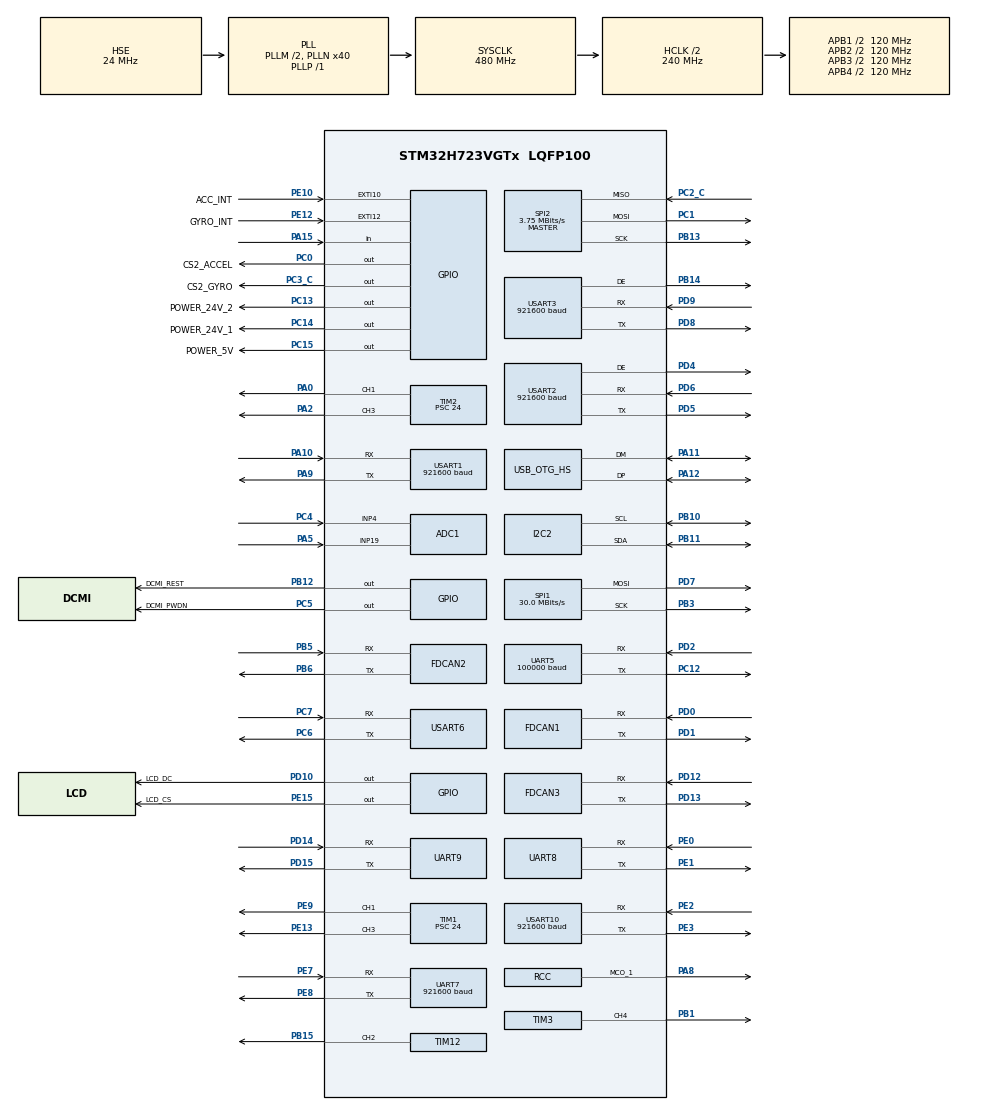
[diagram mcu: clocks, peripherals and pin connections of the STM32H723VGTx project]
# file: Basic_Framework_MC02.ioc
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ADC1.Channel-0\#ChannelRegularConversion=ADC_CHANNEL_4
ADC1.Channel-1\#ChannelRegularConversion=ADC_CHANNEL_19
ADC1.ClockPrescaler=ADC_CLOCK_ASYNC_DIV64
ADC1.ContinuousConvMode=ENABLE
ADC1.ConversionDataManagement=ADC_CONVERSIONDATA_DMA_CIRCULAR
ADC1.NbrOfConversion=2
ADC1.NbrOfConversionFlag=1
ADC1.OffsetNumber-0\#ChannelRegularConversion=ADC_OFFSET_NONE
ADC1.OffsetNumber-1\#ChannelRegularConversion=ADC_OFFSET_NONE
ADC1.OffsetSignedSaturation-0\#ChannelRegularConversion=DISABLE
ADC1.OffsetSignedSaturation-1\#ChannelRegularConversion=DISABLE
ADC1.Rank-0\#ChannelRegularConversion=1
ADC1.Rank-1\#ChannelRegularConversion=2
ADC1.SamplingTime-0\#ChannelRegularConversion=ADC_SAMPLETIME_32CYCLES_5
ADC1.SamplingTime-1\#ChannelRegularConversion=ADC_SAMPLETIME_32CYCLES_5
ADC1.master=1
CORTEX_M7.BaseAddress-Cortex_Memory_Protection_Unit_Region0_Settings=0x24000000
CORTEX_M7.CPU_DCache=Disabled
CORTEX_M7.CPU_ICache=Disabled
CORTEX_M7.Enable-Cortex_Memory_Protection_Unit_Region0_Settings=MPU_REGION_ENABLE
CORTEX_M7.IsBufferable-Cortex_Memory_Protection_Unit_Region0_Settings=MPU_ACCESS_BUFFERABLE
CORTEX_M7.IsCacheable-Cortex_Memory_Protection_Unit_Region0_Settings=MPU_ACCESS_CACHEABLE
CORTEX_M7.MPU_Control=__NULL
CORTEX_M7.Size-Cortex_Memory_Protection_Unit_Region0_Settings=MPU_REGION_SIZE_512B
CORTEX_M7.TypeExtField-Cortex_Memory_Protection_Unit_Region0_Settings=MPU_TEX_LEVEL1
Dma.ADC1.0.Direction=DMA_PERIPH_TO_MEMORY
Dma.ADC1.0.EventEnable=DISABLE
Dma.ADC1.0.FIFOMode=DMA_FIFOMODE_DISABLE
Dma.ADC1.0.Instance=DMA1_Stream0
Dma.ADC1.0.MemDataAlignment=DMA_MDATAALIGN_HALFWORD
Dma.ADC1.0.MemInc=DMA_MINC_ENABLE
Dma.ADC1.0.Mode=DMA_CIRCULAR
Dma.ADC1.0.PeriphDataAlignment=DMA_PDATAALIGN_HALFWORD
Dma.ADC1.0.PeriphInc=DMA_PINC_DISABLE
Dma.ADC1.0.Polarity=HAL_DMAMUX_REQ_GEN_RISING
Dma.ADC1.0.Priority=DMA_PRIORITY_LOW
Dma.ADC1.0.RequestNumber=1
Dma.ADC1.0.SignalID=NONE
Dma.ADC1.0.SyncEnable=DISABLE
Dma.ADC1.0.SyncPolarity=HAL_DMAMUX_SYNC_NO_EVENT
Dma.ADC1.0.SyncRequestNumber=1
Dma.ADC1.0.SyncSignalID=NONE
Dma.I2C2_RX.2.Direction=DMA_PERIPH_TO_MEMORY
Dma.I2C2_RX.2.EventEnable=DISABLE
Dma.I2C2_RX.2.FIFOMode=DMA_FIFOMODE_DISABLE
Dma.I2C2_RX.2.Instance=DMA1_Stream2
Dma.I2C2_RX.2.MemDataAlignment=DMA_MDATAALIGN_BYTE
Dma.I2C2_RX.2.MemInc=DMA_MINC_ENABLE
Dma.I2C2_RX.2.Mode=DMA_NORMAL
Dma.I2C2_RX.2.PeriphDataAlignment=DMA_PDATAALIGN_BYTE
Dma.I2C2_RX.2.PeriphInc=DMA_PINC_DISABLE
Dma.I2C2_RX.2.Polarity=HAL_DMAMUX_REQ_GEN_RISING
Dma.I2C2_RX.2.Priority=DMA_PRIORITY_LOW
Dma.I2C2_RX.2.RequestNumber=1
Dma.I2C2_RX.2.SignalID=NONE
Dma.I2C2_RX.2.SyncEnable=DISABLE
Dma.I2C2_RX.2.SyncPolarity=HAL_DMAMUX_SYNC_NO_EVENT
Dma.I2C2_RX.2.SyncRequestNumber=1
Dma.I2C2_RX.2.SyncSignalID=NONE
Dma.I2C2_TX.3.Direction=DMA_MEMORY_TO_PERIPH
Dma.I2C2_TX.3.EventEnable=DISABLE
Dma.I2C2_TX.3.FIFOMode=DMA_FIFOMODE_DISABLE
Dma.I2C2_TX.3.Instance=DMA1_Stream3
Dma.I2C2_TX.3.MemDataAlignment=DMA_MDATAALIGN_BYTE
Dma.I2C2_TX.3.MemInc=DMA_MINC_ENABLE
Dma.I2C2_TX.3.Mode=DMA_NORMAL
Dma.I2C2_TX.3.PeriphDataAlignment=DMA_PDATAALIGN_BYTE
Dma.I2C2_TX.3.PeriphInc=DMA_PINC_DISABLE
Dma.I2C2_TX.3.Polarity=HAL_DMAMUX_REQ_GEN_RISING
Dma.I2C2_TX.3.Priority=DMA_PRIORITY_LOW
Dma.I2C2_TX.3.RequestNumber=1
Dma.I2C2_TX.3.SignalID=NONE
Dma.I2C2_TX.3.SyncEnable=DISABLE
Dma.I2C2_TX.3.SyncPolarity=HAL_DMAMUX_SYNC_NO_EVENT
Dma.I2C2_TX.3.SyncRequestNumber=1
Dma.I2C2_TX.3.SyncSignalID=NONE
Dma.Request0=ADC1
Dma.Request1=UART5_RX
Dma.Request10=USART1_TX
Dma.Request11=USART1_RX
Dma.Request12=USART10_RX
Dma.Request13=USART10_TX
Dma.Request14=UART7_RX
Dma.Request15=UART7_TX
Dma.Request2=I2C2_RX
Dma.Request3=I2C2_TX
Dma.Request4=UART9_RX
Dma.Request5=UART9_TX
Dma.Request6=USART3_RX
Dma.Request7=USART3_TX
Dma.Request8=USART2_RX
Dma.Request9=USART2_TX
Dma.UART5_RX.1.Direction=DMA_PERIPH_TO_MEMORY
Dma.UART5_RX.1.EventEnable=DISABLE
Dma.UART5_RX.1.FIFOMode=DMA_FIFOMODE_DISABLE
Dma.UART5_RX.1.Instance=DMA1_Stream7
Dma.UART5_RX.1.MemDataAlignment=DMA_MDATAALIGN_BYTE
Dma.UART5_RX.1.MemInc=DMA_MINC_ENABLE
Dma.UART5_RX.1.Mode=DMA_NORMAL
Dma.UART5_RX.1.PeriphDataAlignment=DMA_PDATAALIGN_BYTE
Dma.UART5_RX.1.PeriphInc=DMA_PINC_DISABLE
Dma.UART5_RX.1.Polarity=HAL_DMAMUX_REQ_GEN_RISING
Dma.UART5_RX.1.Priority=DMA_PRIORITY_VERY_HIGH
Dma.UART5_RX.1.RequestNumber=1
Dma.UART5_RX.1.SignalID=NONE
Dma.UART5_RX.1.SyncEnable=DISABLE
Dma.UART5_RX.1.SyncPolarity=HAL_DMAMUX_SYNC_NO_EVENT
Dma.UART5_RX.1.SyncRequestNumber=1
Dma.UART5_RX.1.SyncSignalID=NONE
Dma.UART7_RX.14.Direction=DMA_PERIPH_TO_MEMORY
Dma.UART7_RX.14.EventEnable=DISABLE
Dma.UART7_RX.14.FIFOMode=DMA_FIFOMODE_DISABLE
Dma.UART7_RX.14.Instance=DMA2_Stream6
Dma.UART7_RX.14.MemDataAlignment=DMA_MDATAALIGN_BYTE
Dma.UART7_RX.14.MemInc=DMA_MINC_ENABLE
Dma.UART7_RX.14.Mode=DMA_NORMAL
Dma.UART7_RX.14.PeriphDataAlignment=DMA_PDATAALIGN_BYTE
Dma.UART7_RX.14.PeriphInc=DMA_PINC_DISABLE
Dma.UART7_RX.14.Polarity=HAL_DMAMUX_REQ_GEN_RISING
Dma.UART7_RX.14.Priority=DMA_PRIORITY_LOW
Dma.UART7_RX.14.RequestNumber=1
Dma.UART7_RX.14.SignalID=NONE
Dma.UART7_RX.14.SyncEnable=DISABLE
Dma.UART7_RX.14.SyncPolarity=HAL_DMAMUX_SYNC_NO_EVENT
Dma.UART7_RX.14.SyncRequestNumber=1
Dma.UART7_RX.14.SyncSignalID=NONE
Dma.UART7_TX.15.Direction=DMA_MEMORY_TO_PERIPH
Dma.UART7_TX.15.EventEnable=DISABLE
Dma.UART7_TX.15.FIFOMode=DMA_FIFOMODE_DISABLE
Dma.UART7_TX.15.Instance=DMA2_Stream7
Dma.UART7_TX.15.MemDataAlignment=DMA_MDATAALIGN_BYTE
Dma.UART7_TX.15.MemInc=DMA_MINC_ENABLE
Dma.UART7_TX.15.Mode=DMA_NORMAL
Dma.UART7_TX.15.PeriphDataAlignment=DMA_PDATAALIGN_BYTE
Dma.UART7_TX.15.PeriphInc=DMA_PINC_DISABLE
Dma.UART7_TX.15.Polarity=HAL_DMAMUX_REQ_GEN_RISING
Dma.UART7_TX.15.Priority=DMA_PRIORITY_LOW
Dma.UART7_TX.15.RequestNumber=1
Dma.UART7_TX.15.SignalID=NONE
Dma.UART7_TX.15.SyncEnable=DISABLE
Dma.UART7_TX.15.SyncPolarity=HAL_DMAMUX_SYNC_NO_EVENT
Dma.UART7_TX.15.SyncRequestNumber=1
Dma.UART7_TX.15.SyncSignalID=NONE
Dma.UART9_RX.4.Direction=DMA_PERIPH_TO_MEMORY
Dma.UART9_RX.4.EventEnable=DISABLE
Dma.UART9_RX.4.FIFOMode=DMA_FIFOMODE_DISABLE
Dma.UART9_RX.4.Instance=DMA1_Stream4
Dma.UART9_RX.4.MemDataAlignment=DMA_MDATAALIGN_BYTE
Dma.UART9_RX.4.MemInc=DMA_MINC_ENABLE
Dma.UART9_RX.4.Mode=DMA_NORMAL
Dma.UART9_RX.4.PeriphDataAlignment=DMA_PDATAALIGN_BYTE
Dma.UART9_RX.4.PeriphInc=DMA_PINC_DISABLE
Dma.UART9_RX.4.Polarity=HAL_DMAMUX_REQ_GEN_RISING
Dma.UART9_RX.4.Priority=DMA_PRIORITY_HIGH
Dma.UART9_RX.4.RequestNumber=1
Dma.UART9_RX.4.SignalID=NONE
Dma.UART9_RX.4.SyncEnable=DISABLE
Dma.UART9_RX.4.SyncPolarity=HAL_DMAMUX_SYNC_NO_EVENT
Dma.UART9_RX.4.SyncRequestNumber=1
Dma.UART9_RX.4.SyncSignalID=NONE
Dma.UART9_TX.5.Direction=DMA_MEMORY_TO_PERIPH
Dma.UART9_TX.5.EventEnable=DISABLE
Dma.UART9_TX.5.FIFOMode=DMA_FIFOMODE_DISABLE
Dma.UART9_TX.5.Instance=DMA1_Stream5
Dma.UART9_TX.5.MemDataAlignment=DMA_MDATAALIGN_BYTE
Dma.UART9_TX.5.MemInc=DMA_MINC_ENABLE
Dma.UART9_TX.5.Mode=DMA_NORMAL
Dma.UART9_TX.5.PeriphDataAlignment=DMA_PDATAALIGN_BYTE
Dma.UART9_TX.5.PeriphInc=DMA_PINC_DISABLE
Dma.UART9_TX.5.Polarity=HAL_DMAMUX_REQ_GEN_RISING
Dma.UART9_TX.5.Priority=DMA_PRIORITY_HIGH
Dma.UART9_TX.5.RequestNumber=1
Dma.UART9_TX.5.SignalID=NONE
Dma.UART9_TX.5.SyncEnable=DISABLE
Dma.UART9_TX.5.SyncPolarity=HAL_DMAMUX_SYNC_NO_EVENT
Dma.UART9_TX.5.SyncRequestNumber=1
Dma.UART9_TX.5.SyncSignalID=NONE
Dma.USART10_RX.12.Direction=DMA_PERIPH_TO_MEMORY
Dma.USART10_RX.12.EventEnable=DISABLE
Dma.USART10_RX.12.FIFOMode=DMA_FIFOMODE_DISABLE
Dma.USART10_RX.12.Instance=DMA2_Stream4
Dma.USART10_RX.12.MemDataAlignment=DMA_MDATAALIGN_BYTE
Dma.USART10_RX.12.MemInc=DMA_MINC_ENABLE
Dma.USART10_RX.12.Mode=DMA_NORMAL
Dma.USART10_RX.12.PeriphDataAlignment=DMA_PDATAALIGN_BYTE
Dma.USART10_RX.12.PeriphInc=DMA_PINC_DISABLE
Dma.USART10_RX.12.Polarity=HAL_DMAMUX_REQ_GEN_RISING
Dma.USART10_RX.12.Priority=DMA_PRIORITY_LOW
Dma.USART10_RX.12.RequestNumber=1
Dma.USART10_RX.12.SignalID=NONE
Dma.USART10_RX.12.SyncEnable=DISABLE
Dma.USART10_RX.12.SyncPolarity=HAL_DMAMUX_SYNC_NO_EVENT
Dma.USART10_RX.12.SyncRequestNumber=1
Dma.USART10_RX.12.SyncSignalID=NONE
Dma.USART10_TX.13.Direction=DMA_MEMORY_TO_PERIPH
Dma.USART10_TX.13.EventEnable=DISABLE
Dma.USART10_TX.13.FIFOMode=DMA_FIFOMODE_DISABLE
Dma.USART10_TX.13.Instance=DMA2_Stream5
Dma.USART10_TX.13.MemDataAlignment=DMA_MDATAALIGN_BYTE
Dma.USART10_TX.13.MemInc=DMA_MINC_ENABLE
Dma.USART10_TX.13.Mode=DMA_NORMAL
Dma.USART10_TX.13.PeriphDataAlignment=DMA_PDATAALIGN_BYTE
Dma.USART10_TX.13.PeriphInc=DMA_PINC_DISABLE
Dma.USART10_TX.13.Polarity=HAL_DMAMUX_REQ_GEN_RISING
Dma.USART10_TX.13.Priority=DMA_PRIORITY_LOW
Dma.USART10_TX.13.RequestNumber=1
Dma.USART10_TX.13.SignalID=NONE
Dma.USART10_TX.13.SyncEnable=DISABLE
Dma.USART10_TX.13.SyncPolarity=HAL_DMAMUX_SYNC_NO_EVENT
Dma.USART10_TX.13.SyncRequestNumber=1
Dma.USART10_TX.13.SyncSignalID=NONE
Dma.USART1_RX.11.Direction=DMA_PERIPH_TO_MEMORY
Dma.USART1_RX.11.EventEnable=DISABLE
Dma.USART1_RX.11.FIFOMode=DMA_FIFOMODE_DISABLE
Dma.USART1_RX.11.Instance=DMA2_Stream3
Dma.USART1_RX.11.MemDataAlignment=DMA_MDATAALIGN_BYTE
Dma.USART1_RX.11.MemInc=DMA_MINC_ENABLE
Dma.USART1_RX.11.Mode=DMA_NORMAL
Dma.USART1_RX.11.PeriphDataAlignment=DMA_PDATAALIGN_BYTE
Dma.USART1_RX.11.PeriphInc=DMA_PINC_DISABLE
Dma.USART1_RX.11.Polarity=HAL_DMAMUX_REQ_GEN_RISING
Dma.USART1_RX.11.Priority=DMA_PRIORITY_LOW
Dma.USART1_RX.11.RequestNumber=1
Dma.USART1_RX.11.SignalID=NONE
Dma.USART1_RX.11.SyncEnable=DISABLE
Dma.USART1_RX.11.SyncPolarity=HAL_DMAMUX_SYNC_NO_EVENT
Dma.USART1_RX.11.SyncRequestNumber=1
Dma.USART1_RX.11.SyncSignalID=NONE
Dma.USART1_TX.10.Direction=DMA_MEMORY_TO_PERIPH
Dma.USART1_TX.10.EventEnable=DISABLE
Dma.USART1_TX.10.FIFOMode=DMA_FIFOMODE_DISABLE
Dma.USART1_TX.10.Instance=DMA2_Stream2
Dma.USART1_TX.10.MemDataAlignment=DMA_MDATAALIGN_BYTE
Dma.USART1_TX.10.MemInc=DMA_MINC_ENABLE
Dma.USART1_TX.10.Mode=DMA_NORMAL
Dma.USART1_TX.10.PeriphDataAlignment=DMA_PDATAALIGN_BYTE
Dma.USART1_TX.10.PeriphInc=DMA_PINC_DISABLE
Dma.USART1_TX.10.Polarity=HAL_DMAMUX_REQ_GEN_RISING
Dma.USART1_TX.10.Priority=DMA_PRIORITY_LOW
Dma.USART1_TX.10.RequestNumber=1
Dma.USART1_TX.10.SignalID=NONE
Dma.USART1_TX.10.SyncEnable=DISABLE
Dma.USART1_TX.10.SyncPolarity=HAL_DMAMUX_SYNC_NO_EVENT
Dma.USART1_TX.10.SyncRequestNumber=1
Dma.USART1_TX.10.SyncSignalID=NONE
Dma.USART2_RX.8.Direction=DMA_PERIPH_TO_MEMORY
Dma.USART2_RX.8.EventEnable=DISABLE
Dma.USART2_RX.8.FIFOMode=DMA_FIFOMODE_DISABLE
Dma.USART2_RX.8.Instance=DMA2_Stream0
Dma.USART2_RX.8.MemDataAlignment=DMA_MDATAALIGN_BYTE
Dma.USART2_RX.8.MemInc=DMA_MINC_ENABLE
Dma.USART2_RX.8.Mode=DMA_NORMAL
Dma.USART2_RX.8.PeriphDataAlignment=DMA_PDATAALIGN_BYTE
Dma.USART2_RX.8.PeriphInc=DMA_PINC_DISABLE
Dma.USART2_RX.8.Polarity=HAL_DMAMUX_REQ_GEN_RISING
Dma.USART2_RX.8.Priority=DMA_PRIORITY_LOW
Dma.USART2_RX.8.RequestNumber=1
Dma.USART2_RX.8.SignalID=NONE
Dma.USART2_RX.8.SyncEnable=DISABLE
Dma.USART2_RX.8.SyncPolarity=HAL_DMAMUX_SYNC_NO_EVENT
Dma.USART2_RX.8.SyncRequestNumber=1
Dma.USART2_RX.8.SyncSignalID=NONE
Dma.USART2_TX.9.Direction=DMA_MEMORY_TO_PERIPH
Dma.USART2_TX.9.EventEnable=DISABLE
Dma.USART2_TX.9.FIFOMode=DMA_FIFOMODE_DISABLE
Dma.USART2_TX.9.Instance=DMA2_Stream1
Dma.USART2_TX.9.MemDataAlignment=DMA_MDATAALIGN_BYTE
Dma.USART2_TX.9.MemInc=DMA_MINC_ENABLE
Dma.USART2_TX.9.Mode=DMA_NORMAL
Dma.USART2_TX.9.PeriphDataAlignment=DMA_PDATAALIGN_BYTE
Dma.USART2_TX.9.PeriphInc=DMA_PINC_DISABLE
Dma.USART2_TX.9.Polarity=HAL_DMAMUX_REQ_GEN_RISING
Dma.USART2_TX.9.Priority=DMA_PRIORITY_LOW
Dma.USART2_TX.9.RequestNumber=1
Dma.USART2_TX.9.SignalID=NONE
Dma.USART2_TX.9.SyncEnable=DISABLE
Dma.USART2_TX.9.SyncPolarity=HAL_DMAMUX_SYNC_NO_EVENT
Dma.USART2_TX.9.SyncRequestNumber=1
Dma.USART2_TX.9.SyncSignalID=NONE
Dma.USART3_RX.6.Direction=DMA_PERIPH_TO_MEMORY
Dma.USART3_RX.6.EventEnable=DISABLE
Dma.USART3_RX.6.FIFOMode=DMA_FIFOMODE_DISABLE
Dma.USART3_RX.6.Instance=DMA1_Stream6
Dma.USART3_RX.6.MemDataAlignment=DMA_MDATAALIGN_BYTE
Dma.USART3_RX.6.MemInc=DMA_MINC_ENABLE
Dma.USART3_RX.6.Mode=DMA_NORMAL
Dma.USART3_RX.6.PeriphDataAlignment=DMA_PDATAALIGN_BYTE
Dma.USART3_RX.6.PeriphInc=DMA_PINC_DISABLE
Dma.USART3_RX.6.Polarity=HAL_DMAMUX_REQ_GEN_RISING
Dma.USART3_RX.6.Priority=DMA_PRIORITY_LOW
Dma.USART3_RX.6.RequestNumber=1
Dma.USART3_RX.6.SignalID=NONE
Dma.USART3_RX.6.SyncEnable=DISABLE
Dma.USART3_RX.6.SyncPolarity=HAL_DMAMUX_SYNC_NO_EVENT
Dma.USART3_RX.6.SyncRequestNumber=1
Dma.USART3_RX.6.SyncSignalID=NONE
Dma.USART3_TX.7.Direction=DMA_MEMORY_TO_PERIPH
Dma.USART3_TX.7.EventEnable=DISABLE
Dma.USART3_TX.7.FIFOMode=DMA_FIFOMODE_DISABLE
Dma.USART3_TX.7.Instance=DMA1_Stream1
Dma.USART3_TX.7.MemDataAlignment=DMA_MDATAALIGN_BYTE
Dma.USART3_TX.7.MemInc=DMA_MINC_ENABLE
Dma.USART3_TX.7.Mode=DMA_NORMAL
Dma.USART3_TX.7.PeriphDataAlignment=DMA_PDATAALIGN_BYTE
Dma.USART3_TX.7.PeriphInc=DMA_PINC_DISABLE
Dma.USART3_TX.7.Polarity=HAL_DMAMUX_REQ_GEN_RISING
Dma.USART3_TX.7.Priority=DMA_PRIORITY_LOW
Dma.USART3_TX.7.RequestNumber=1
Dma.USART3_TX.7.SignalID=NONE
Dma.USART3_TX.7.SyncEnable=DISABLE
Dma.USART3_TX.7.SyncPolarity=HAL_DMAMUX_SYNC_NO_EVENT
Dma.USART3_TX.7.SyncRequestNumber=1
Dma.USART3_TX.7.SyncSignalID=NONE
FDCAN1.AutoRetransmission=ENABLE
FDCAN1.CalculateBaudRateNominal=1000000
FDCAN1.CalculateTimeBitNominal=1000
FDCAN1.CalculateTimeQuantumNominal=25.0
FDCAN1.DataPrescaler=3
FDCAN1.DataSyncJumpWidth=10
FDCAN1.DataTimeSeg1=29
FDCAN1.DataTimeSeg2=10
FDCAN1.NominalPrescaler=3
FDCAN1.NominalTimeSeg1=29
FDCAN1.NominalTimeSeg2=10
FDCAN1.ProtocolException=ENABLE
FDCAN1.RxFifo0ElmtsNbr=4
FDCAN1.RxFifo1ElmtsNbr=4
FDCAN1.StdFiltersNbr=14
FDCAN1.TxFifoQueueElmtsNbr=4
FDCAN2.AutoRetransmission=ENABLE
FDCAN2.CalculateBaudRateNominal=1000000
FDCAN2.CalculateTimeBitNominal=1000
FDCAN2.CalculateTimeQuantumNominal=25.0
FDCAN2.DataPrescaler=3
FDCAN2.DataSyncJumpWidth=10
FDCAN2.DataTimeSeg1=29
FDCAN2.DataTimeSeg2=10
FDCAN2.MessageRAMOffset=0x406
FDCAN2.NominalPrescaler=3
FDCAN2.NominalTimeSeg1=29
FDCAN2.NominalTimeSeg2=10
FDCAN2.RxFifo0ElmtsNbr=4
FDCAN2.RxFifo1ElmtsNbr=4
FDCAN2.StdFiltersNbr=14
FDCAN2.TxFifoQueueElmtsNbr=4
FDCAN3.AutoRetransmission=ENABLE
FDCAN3.CalculateBaudRateNominal=1000000
FDCAN3.CalculateTimeBitNominal=1000
FDCAN3.CalculateTimeQuantumNominal=25.0
FDCAN3.DataPrescaler=3
FDCAN3.DataSyncJumpWidth=10
FDCAN3.DataTimeSeg1=29
FDCAN3.DataTimeSeg2=10
FDCAN3.MessageRAMOffset=0x812
FDCAN3.NominalPrescaler=3
FDCAN3.NominalTimeSeg1=29
FDCAN3.NominalTimeSeg2=10
FDCAN3.RxFifo0ElmtsNbr=4
FDCAN3.RxFifo1ElmtsNbr=4
FDCAN3.StdFiltersNbr=14
FDCAN3.TxFifoQueueElmtsNbr=4
FREERTOS.INCLUDE_eTaskGetState=0
FREERTOS.INCLUDE_uxTaskGetStackHighWaterMark=0
FREERTOS.INCLUDE_vTaskDelayUntil=1
FREERTOS.INCLUDE_xQueueGetMutexHolder=1
FREERTOS.INCLUDE_xTaskGetCurrentTaskHandle=0
FREERTOS.INCLUDE_xTimerPendFunctionCall=0
FREERTOS.Tasks01=defaultTask,0,128,StartDefaultTask,Default,NULL,Dynamic,NULL,NULL
FREERTOS.configENABLE_FPU=1
FREERTOS.configGENERATE_RUN_TIME_STATS=1
FREERTOS.configTOTAL_HEAP_SIZE=25600
FREERTOS.configUSE_COUNTING_SEMAPHORES=1
FREERTOS.configUSE_RECURSIVE_MUTEXES=0
FREERTOS.configUSE_TIMERS=1
FREERTOS.configUSE_TRACE_FACILITY=1
I2C2.Timing=0x307075B1
Mcu.Family=STM32H7
Mcu.Name=STM32H723VGTx
Mcu.Package=LQFP100
NVIC.DMA1_Stream0_IRQn=true\:5\:0\:false\:false\:true\:false\:false\:true\:true
NVIC.DMA1_Stream1_IRQn=true\:5\:0\:false\:false\:true\:true\:false\:true\:true
NVIC.DMA1_Stream2_IRQn=true\:5\:0\:false\:false\:true\:true\:false\:true\:true
NVIC.DMA1_Stream3_IRQn=true\:5\:0\:false\:false\:true\:true\:false\:true\:true
NVIC.DMA1_Stream4_IRQn=true\:5\:0\:false\:false\:true\:true\:false\:true\:true
NVIC.DMA1_Stream5_IRQn=true\:5\:0\:false\:false\:true\:true\:false\:true\:true
NVIC.DMA1_Stream6_IRQn=true\:5\:0\:false\:false\:true\:true\:false\:true\:true
NVIC.DMA1_Stream7_IRQn=true\:5\:0\:false\:false\:true\:true\:false\:true\:true
NVIC.DMA2_Stream0_IRQn=true\:5\:0\:false\:false\:true\:true\:false\:true\:true
NVIC.DMA2_Stream1_IRQn=true\:5\:0\:false\:false\:true\:true\:false\:true\:true
NVIC.DMA2_Stream2_IRQn=true\:5\:0\:false\:false\:true\:true\:false\:true\:true
NVIC.DMA2_Stream3_IRQn=true\:5\:0\:false\:false\:true\:true\:false\:true\:true
NVIC.DMA2_Stream4_IRQn=true\:5\:0\:false\:false\:true\:true\:false\:true\:true
NVIC.DMA2_Stream5_IRQn=true\:5\:0\:false\:false\:true\:true\:false\:true\:true
NVIC.DMA2_Stream6_IRQn=true\:5\:0\:false\:false\:true\:true\:false\:true\:true
NVIC.DMA2_Stream7_IRQn=true\:5\:0\:false\:false\:true\:true\:false\:true\:true
NVIC.FDCAN1_IT0_IRQn=true\:5\:0\:false\:false\:true\:true\:true\:true\:true
NVIC.FDCAN1_IT1_IRQn=true\:5\:0\:false\:false\:true\:true\:true\:true\:true
NVIC.FDCAN2_IT0_IRQn=true\:5\:0\:false\:false\:true\:true\:true\:true\:true
NVIC.FDCAN2_IT1_IRQn=true\:5\:0\:false\:false\:true\:true\:true\:true\:true
NVIC.FDCAN3_IT0_IRQn=true\:5\:0\:false\:false\:true\:true\:true\:true\:true
NVIC.FDCAN3_IT1_IRQn=true\:5\:0\:false\:false\:true\:true\:true\:true\:true
NVIC.I2C2_EV_IRQn=true\:5\:0\:false\:false\:true\:true\:true\:true\:true
NVIC.OTG_HS_IRQn=true\:5\:0\:false\:false\:true\:true\:false\:true\:true
NVIC.PriorityGroup=NVIC_PRIORITYGROUP_4
NVIC.TIM23_IRQn=true\:15\:0\:false\:false\:true\:false\:false\:true\:true
NVIC.TimeBase=TIM23_IRQn
NVIC.TimeBaseIP=TIM23
NVIC.UART5_IRQn=true\:5\:0\:false\:false\:true\:true\:true\:true\:true
NVIC.UART7_IRQn=true\:5\:0\:true\:false\:true\:false\:true\:true\:true
NVIC.USART10_IRQn=true\:5\:0\:true\:false\:true\:false\:true\:true\:true
NVIC.USART1_IRQn=true\:5\:0\:true\:false\:true\:false\:true\:true\:true
NVIC.USART2_IRQn=true\:5\:0\:true\:false\:true\:false\:true\:true\:true
NVIC.USART3_IRQn=true\:5\:0\:true\:false\:true\:false\:true\:true\:true
PA0.Signal=S_TIM2_CH1_ETR
PA1.Signal=OCTOSPIM_P1_IO3
PA10.Mode=Asynchronous
PA10.Signal=USART1_RX
PA11.Mode=Device_Only_FS
PA11.Signal=USB_OTG_HS_DM
PA12.Mode=Device_Only_FS
PA12.Signal=USB_OTG_HS_DP
PA13(JTMS/SWDIO).Mode=Serial_Wire
PA13(JTMS/SWDIO).Signal=DEBUG_JTMS-SWDIO
PA14(JTCK/SWCLK).Mode=Serial_Wire
PA14(JTCK/SWCLK).Signal=DEBUG_JTCK-SWCLK
PA15(JTDI).Signal=GPIO_Input
PA2.Signal=S_TIM2_CH3
PA3.Signal=OCTOSPIM_P1_IO2
PA5.Signal=ADCx_INP19
PA8.Mode=Clock-out-1
PA8.Signal=RCC_MCO_1
PA9.Mode=Asynchronous
PA9.Signal=USART1_TX
PB0.Signal=OCTOSPIM_P1_IO1
PB1.Signal=S_TIM3_CH4
PB10.Mode=I2C
PB10.Signal=I2C2_SCL
PB11.Mode=I2C
PB11.Signal=I2C2_SDA
PB12.GPIO_Label=DCMI_REST
PB12.GPIO_PuPd=GPIO_PULLUP
PB12.GPIO_Speed=GPIO_SPEED_FREQ_VERY_HIGH
PB12.PinState=GPIO_PIN_SET
PB12.Signal=GPIO_Output
PB13.GPIO_Speed=GPIO_SPEED_FREQ_VERY_HIGH
PB13.Mode=Full_Duplex_Master
PB13.Signal=SPI2_SCK
PB14.Mode=Hardware Flow Control (RS485)
PB14.Signal=USART3_DE
PB15.Signal=S_TIM12_CH2
PB2.Signal=OCTOSPIM_P1_CLK
PB3(JTDO/TRACESWO).GPIO_Speed=GPIO_SPEED_FREQ_VERY_HIGH
PB3(JTDO/TRACESWO).Mode=TX_Only_Simplex_Unidirect_Master
PB3(JTDO/TRACESWO).Signal=SPI1_SCK
PB5.Mode=FDCAN_Activate
PB5.Signal=FDCAN2_RX
PB6.Mode=FDCAN_Activate
PB6.Signal=FDCAN2_TX
PC0.GPIO_Label=CS2_ACCEL
PC0.GPIO_Speed=GPIO_SPEED_FREQ_VERY_HIGH
PC0.PinState=GPIO_PIN_SET
PC0.Signal=GPIO_Output
PC1.GPIO_Speed=GPIO_SPEED_FREQ_VERY_HIGH
PC1.Mode=Full_Duplex_Master
PC1.Signal=SPI2_MOSI
PC12.Mode=Asynchronous
PC12.Signal=UART5_TX
PC13.GPIO_Label=POWER_24V_2
PC13.PinState=GPIO_PIN_SET
PC13.Signal=GPIO_Output
PC14-OSC32_IN.GPIO_Label=POWER_24V_1
PC14-OSC32_IN.PinState=GPIO_PIN_SET
PC14-OSC32_IN.Signal=GPIO_Output
PC15-OSC32_OUT.GPIO_Label=POWER_5V
PC15-OSC32_OUT.PinState=GPIO_PIN_SET
PC15-OSC32_OUT.Signal=GPIO_Output
PC2_C.GPIO_Speed=GPIO_SPEED_FREQ_VERY_HIGH
PC2_C.Mode=Full_Duplex_Master
PC2_C.Signal=SPI2_MISO
PC3_C.GPIO_Label=CS2_GYRO
PC3_C.GPIO_Speed=GPIO_SPEED_FREQ_VERY_HIGH
PC3_C.PinState=GPIO_PIN_SET
PC3_C.Signal=GPIO_Output
PC4.Signal=ADCx_INP4
PC5.GPIO_Label=DCMI_PWDN
PC5.GPIO_PuPd=GPIO_NOPULL
PC5.GPIO_Speed=GPIO_SPEED_FREQ_VERY_HIGH
PC5.PinState=GPIO_PIN_SET
PC5.Signal=GPIO_Output
PC6.Mode=Asynchronous
PC6.Signal=USART6_TX
PC7.Mode=Asynchronous
PC7.Signal=USART6_RX
PD0.Mode=FDCAN_Activate
PD0.Signal=FDCAN1_RX
PD1.Mode=FDCAN_Activate
PD1.Signal=FDCAN1_TX
PD10.GPIO_Label=LCD_DC
PD10.Signal=GPIO_Output
PD11.Signal=OCTOSPIM_P1_IO0
PD12.Mode=FDCAN_Activate
PD12.Signal=FDCAN3_RX
PD13.Mode=FDCAN_Activate
PD13.Signal=FDCAN3_TX
PD14.Mode=Asynchronous
PD14.Signal=UART9_RX
PD15.Mode=Asynchronous
PD15.Signal=UART9_TX
PD2.Mode=Asynchronous
PD2.Signal=UART5_RX
PD4.Mode=Hardware Flow Control (RS485)
PD4.Signal=USART2_DE
PD5.Mode=Asynchronous
PD5.Signal=USART2_TX
PD6.Mode=Asynchronous
PD6.Signal=USART2_RX
PD7.GPIO_Speed=GPIO_SPEED_FREQ_VERY_HIGH
PD7.Mode=TX_Only_Simplex_Unidirect_Master
PD7.Signal=SPI1_MOSI
PD8.Mode=Asynchronous
PD8.Signal=USART3_TX
PD9.Mode=Asynchronous
PD9.Signal=USART3_RX
PE0.Mode=Asynchronous
PE0.Signal=UART8_RX
PE1.Mode=Asynchronous
PE1.Signal=UART8_TX
PE10.GPIO_Label=ACC_INT
PE10.Signal=GPXTI10
PE11.Signal=OCTOSPIM_P1_NCS
PE12.GPIO_Label=GYRO_INT
PE12.Signal=GPXTI12
PE13.Signal=S_TIM1_CH3
PE15.GPIO_Label=LCD_CS
PE15.Signal=GPIO_Output
PE2.Mode=Asynchronous
PE2.Signal=USART10_RX
PE3.Mode=Asynchronous
PE3.Signal=USART10_TX
PE7.Mode=Asynchronous
PE7.Signal=UART7_RX
PE8.Mode=Asynchronous
PE8.Signal=UART7_TX
PE9.Signal=S_TIM1_CH1
PH0-OSC_IN.Mode=HSE-External-Oscillator
PH0-OSC_IN.Signal=RCC_OSC_IN
PH1-OSC_OUT.Mode=HSE-External-Oscillator
PH1-OSC_OUT.Signal=RCC_OSC_OUT
ProjectManager.HeapSize=0x2000
ProjectManager.StackSize=0x2000
ProjectManager.TargetToolchain=CMake
RCC.ADCFreq_Value=96000000
RCC.APB1Freq_Value=120000000
RCC.APB2Freq_Value=120000000
RCC.APB3Freq_Value=120000000
RCC.APB4Freq_Value=120000000
RCC.CortexFreq_Value=480000000
RCC.D1PPRE=RCC_APB3_DIV2
RCC.D2PPRE1=RCC_APB1_DIV2
RCC.D2PPRE2=RCC_APB2_DIV2
RCC.D3PPRE=RCC_APB4_DIV2
RCC.DIVM1=2
RCC.DIVM2=2
RCC.DIVN1=40
RCC.DIVN2=16
RCC.DIVP1=1
RCC.DIVQ1=4
RCC.EnbaleCSS=false
RCC.HCLKFreq_Value=240000000
RCC.HPRE=RCC_HCLK_DIV2
RCC.HSE_VALUE=24000000
RCC.PLL2FRACN=0
RCC.PLL2_VCI_Range-AdvancedSettings=RCC_PLL2VCIRANGE_0
RCC.PLL2_VCO_SEL-AdvancedSettings=RCC_PLL2VCOWIDE
RCC.PLL3FRACN=0
RCC.PLL3_VCO_SEL-AdvancedSettings=RCC_PLL3VCOMEDIUM
RCC.PLLFRACN=0
RCC.PLLSourceVirtual=RCC_PLLSOURCE_HSE
RCC.SPI6CLockSelection=RCC_SPI6CLKSOURCE_HSE
RCC.SYSCLKFreq_VALUE=480000000
RCC.SYSCLKSource=RCC_SYSCLKSOURCE_PLLCLK
RCC.USBCLockSelection=RCC_USBCLKSOURCE_HSI48
RCC.USBFreq_Value=48000000
SH.ADCx_INP19.0=ADC1_INP19,IN19-Single-Ended
SH.ADCx_INP4.0=ADC1_INP4,IN4-Single-Ended
SH.S_TIM12_CH2.0=TIM12_CH2,PWM Generation2 CH2
SH.S_TIM1_CH1.0=TIM1_CH1,PWM Generation1 CH1
SH.S_TIM1_CH3.0=TIM1_CH3,PWM Generation3 CH3
SH.S_TIM2_CH1_ETR.0=TIM2_CH1,PWM Generation1 CH1
SH.S_TIM2_CH3.0=TIM2_CH3,PWM Generation3 CH3
SH.S_TIM3_CH4.0=TIM3_CH4,PWM Generation4 CH4
SPI1.BaudRatePrescaler=SPI_BAUDRATEPRESCALER_4
SPI1.CLKPolarity=SPI_POLARITY_HIGH
SPI1.CalculateBaudRate=30.0 MBits/s
SPI1.DataSize=SPI_DATASIZE_8BIT
SPI1.Direction=SPI_DIRECTION_2LINES_TXONLY
SPI1.Mode=SPI_MODE_MASTER
SPI1.VirtualType=VM_MASTER
SPI2.BaudRatePrescaler=SPI_BAUDRATEPRESCALER_32
SPI2.CLKPhase=SPI_PHASE_2EDGE
SPI2.CLKPolarity=SPI_POLARITY_HIGH
SPI2.CalculateBaudRate=3.75 MBits/s
SPI2.DataSize=SPI_DATASIZE_8BIT
SPI2.Direction=SPI_DIRECTION_2LINES
SPI2.Mode=SPI_MODE_MASTER
SPI2.VirtualType=VM_MASTER
STMicroelectronics.X-CUBE-ALGOBUILD.1.4.0.LibraryCcDSPOoLibraryJjDSPOoLibrary=true
TIM1.Channel-PWM\ Generation1\ CH1=TIM_CHANNEL_1
TIM1.Channel-PWM\ Generation3\ CH3=TIM_CHANNEL_3
TIM1.Period=10000
TIM1.Prescaler=24
TIM1.Pulse-PWM\ Generation1\ CH1=5000
TIM1.Pulse-PWM\ Generation3\ CH3=5000
TIM12.Channel-PWM\ Generation2\ CH2=TIM_CHANNEL_2
TIM12.Period=2000-1
TIM12.Prescaler=24-1
TIM2.Channel-PWM\ Generation1\ CH1=TIM_CHANNEL_1
TIM2.Channel-PWM\ Generation3\ CH3=TIM_CHANNEL_3
TIM2.Period=10000
TIM2.Prescaler=24
TIM2.Pulse-PWM\ Generation1\ CH1=5000
TIM2.Pulse-PWM\ Generation3\ CH3=5000
TIM3.AutoReloadPreload=TIM_AUTORELOAD_PRELOAD_ENABLE
TIM3.Channel-PWM\ Generation4\ CH4=TIM_CHANNEL_4
TIM3.Period=10000-1
TIM3.Prescaler=24-1
UART5.BaudRate=100000
UART5.Mode=MODE_RX
UART5.Parity=PARITY_EVEN
UART5.WordLength=WORDLENGTH_9B
UART7.BaudRate=921600
USART1.BaudRate=921600
USART1.VirtualMode-Asynchronous=VM_ASYNC
USART10.BaudRate=921600
USART10.VirtualMode=VM_ASYNC
USART2.BaudRate=921600
USART2.VirtualMode-Asynchronous=VM_ASYNC
USART2.VirtualMode-Hardware\ Flow\ Control\ (RS485)=VM_ASYNC
USART3.BaudRate=921600
USART3.VirtualMode-Asynchronous=VM_ASYNC
USART3.VirtualMode-Hardware\ Flow\ Control\ (RS485)=VM_ASYNC
USART6.VirtualMode=VM_ASYNC
USB_DEVICE.CLASS_NAME_HS=CDC
USB_DEVICE.VirtualMode=Cdc
USB_DEVICE.VirtualModeHS=Cdc_HS
USB_OTG_HS.VirtualMode-Device_Only_FS=Device_Only_FS
VP_FREERTOS_VS_CMSIS_V1.Mode=CMSIS_V1
VP_MEMORYMAP_VS_MEMORYMAP.Mode=CurAppReg
VP_STMicroelectronics.X-CUBE-ALGOBUILD_VS_DSPOoLibraryJjLibrary_1.4.0_1.4.0.Mode=DSPOoLibraryJjLibrary
VP_SYS_VS_tim23.Mode=TIM23
VP_USB_DEVICE_VS_USB_DEVICE_CDC_HS.Mode=CDC_HS
board=custom

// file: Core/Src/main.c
/* USER CODE BEGIN Header */
/**
 ******************************************************************************
 * @file           : main.c
 * @brief          : Main program body
 ******************************************************************************
 * @attention
 *
 * Copyright (c) 2024 STMicroelectronics.
 * All rights reserved.
 *
 * This software is licensed under terms that can be found in the LICENSE file
 * in the root directory of this software component.
 * If no LICENSE file comes with this software, it is provided AS-IS.
 *
 ******************************************************************************
 */
/* USER CODE END Header */
#include "main.h"
#include "cmsis_os.h"
#include "adc.h"
#include "dma.h"
#include "fdcan.h"
#include "i2c.h"
#include "spi.h"
#include "tim.h"
#include "usart.h"
#include "usb_device.h"
#include "gpio.h"

/* USER CODE BEGIN Includes */
#include "bsp_log.h"
#include "dji_motor.h"
#include "dmmotor.h"
#include "bsp_can.h"

// #include "dm_imu.h"
#include "robot.h"
/* USER CODE END Includes */

/* USER CODE BEGIN PV */
#define W25Qxx_NumByteToTest 32 * 1024 // �������ݵĳ��ȣ�32K

int32_t OSPI_Status; // ����־λ

uint8_t W25Qxx_WriteBuffer[W25Qxx_NumByteToTest]; //	д��������
uint8_t W25Qxx_ReadBuffer[W25Qxx_NumByteToTest];  //	����������

// 注册CAN实例
CANInstance *can3_instance;
CANInstance *can1_instance;
CANInstance *can1_instance2;
CANInstance *can1_instance3;
CANInstance *can2_instance;

/* USER CODE END PV */

void SystemClock_Config(void);
void MX_FREERTOS_Init(void);

/* USER CODE BEGIN 0 */
/**

void can3_receive_callback(CANInstance* instance) {
  IMU_UpdateData(instance->rx_buff);
}
void can1_receive_callback(CANInstance* instance) {
    dm_motor_fbdata(&dmmotor_yaw1->measure, instance->rx_buff);
}
void can1_receive2_callback(CANInstance* instance) {
    dm_motor_fbdata(&dmmotor_pitch->measure, instance->rx_buff);
}

void can1_receive3_callback(CANInstance* instance) {
    dm_motor_fbdata(&dmmotor_loader->measure, instance->rx_buff);
}
void can2_receive_callback(CANInstance* instance) {
    dm_motor_fbdata(&dmmotor_yaw2->measure, instance->rx_buff);
}
void register_can3_receiver(uint32_t rx_id) {//达妙imu数据读取
    // 定义CAN初始化配置结构体
    CAN_Init_Config_s can3_config = {
        .can_handle = &hfdcan3,                 // 使用CAN3句柄
        .tx_id = 0x01,                         // 发送ID（根据需要设置）
        .rx_id = rx_id,                         // 接收ID
        .can_module_callback = can3_receive_callback, // 接收回调函数
        .id = NULL                              // 可选的模块标识符
    };

    // 注册CAN实例
    CANInstance* can3_instance = CANRegister(&can3_config);

    if (can3_instance != NULL) {
        printf("CAN3 receiver registered successfully\n");
    } else {
        printf("Failed to register CAN3 receiver\n");
    }
}
void register_can1_receiver(uint32_t rx_id) {//yaw1的电机数据读取
    // 定义CAN初始化配置结构体
    CAN_Init_Config_s can1_config = {
        .can_handle = &hfdcan1,                 // 使用CAN3句柄
        .tx_id = 0x17,                         // 发送ID（根据需要设置）
        .rx_id = rx_id,                         // 接收ID
        .can_module_callback = can1_receive_callback, // 接收回调函数
        .id = NULL                              // 可选的模块标识符
    };

    // 注册CAN实例
    CANInstance* can1_instance = CANRegister(&can1_config);

    if (can1_instance != NULL) {
        printf("CAN3 receiver registered successfully\n");
    } else {
        printf("Failed to register CAN3 receiver\n");
    }
}
void register_can2_receiver(uint32_t rx_id) {//yaw2的电机数据读取
    // 定义CAN初始化配置结构体
    CAN_Init_Config_s can2_config = {
        .can_handle = &hfdcan2,                 // 使用CAN3句柄
        .tx_id = 0x18,                         // 发送ID（根据需要设置）
        .rx_id = rx_id,                         // 接收ID
        .can_module_callback = can2_receive_callback, // 接收回调函数
        .id = NULL                              // 可选的模块标识符
    };
    // 注册CAN实例
    CANInstance* can2_instance = CANRegister(&can2_config);
    if (can2_instance != NULL) {
        printf("CAN3 receiver registered successfully\n");
    } else {
        printf("Failed to register CAN3 receiver\n");
    }
}

void register2_can1_receiver(uint32_t rx_id) {//pitch的电机数据读取
    // 定义CAN初始化配置结构体
    CAN_Init_Config_s can1_config2 = {
        .can_handle = &hfdcan1,                 // 使用CAN3句柄
        .tx_id = 0x16,                         // 发送ID（根据需要设置）
        .rx_id = rx_id,                         // 接收ID
        .can_module_callback = can1_receive2_callback, // 接收回调函数
        .id = NULL                              // 可选的模块标识符
    };
    // 注册CAN实例
    CANInstance* can1_instance2 = CANRegister(&can1_config2);
    if (can1_instance2 != NULL) {
        printf("CAN3 receiver registered successfully\n");
    } else {
        printf("Failed to register CAN3 receiver\n");
    }
}

void register3_can1_receiver(uint32_t rx_id) {//拨弹盘的电机数据读取
    // 定义CAN初始化配置结构体
    CAN_Init_Config_s can1_config2 = {
        .can_handle = &hfdcan1,                 // 使用CAN3句柄
        .tx_id = 0x15,                         // 发送ID（根据需要设置）
        .rx_id = rx_id,                         // 接收ID
        .can_module_callback = can1_receive3_callback, // 接收回调函数
        .id = NULL                              // 可选的模块标识符
    };

    // 注册CAN实例
    CANInstance* can1_instance3 = CANRegister(&can1_config2);

    if (can1_instance3 != NULL) {
        printf("CAN3 receiver registered successfully\n");
    } else {
        printf("Failed to register CAN3 receiver\n");
    }
}

/* USER CODE END 0 */

int main(void)
{

    /* MCU Configuration--------------------------------------------------------*/

    /* Reset of all peripherals, Initializes the Flash interface and the Systick. *

    /* USER CODE BEGIN Init */
    HAL_Init();
    /* USER CODE END Init */

    /* Configure the system clock */
    SystemClock_Config();

    /* Initialize all configured peripherals */
    MX_GPIO_Init();
    MX_DMA_Init();
    MX_ADC1_Init();
    MX_TIM12_Init();
    MX_SPI1_Init();
    MX_SPI2_Init();
    MX_TIM3_Init();
    MX_USART1_UART_Init();
    MX_USART2_UART_Init();
    MX_USART3_UART_Init();
    MX_UART7_Init();
    MX_USART10_UART_Init();
    MX_FDCAN1_Init();
    MX_FDCAN2_Init();
    MX_FDCAN3_Init();
    MX_TIM1_Init();
    MX_TIM2_Init();
    MX_UART5_Init();
    MX_UART8_Init();
    MX_UART9_Init();
    MX_I2C2_Init();
    MX_USART6_UART_Init();
    /* USER CODE BEGIN 2 */
    // 初始化CAN3模块
    HAL_GPIO_WritePin(GPIOC, GPIO_PIN_15, GPIO_PIN_SET);
    // register_can3_receiver(0x11);
    // register_can1_receiver(0x17);
    // register_can2_receiver(0x18);
    // register2_can1_receiver(0x16);
    // register3_can1_receiver(0x15);

    RobotInit();

    LOGINFO("[main] SystemInit() and RobotInit() done");

    // HAL_GPIO_WritePin(GPIOC, GPIO_PIN_15, GPIO_PIN_SET);
    /* USER CODE END 2 */

    /* Call init function for freertos objects (in cmsis_os2.c) */
    MX_FREERTOS_Init();

    /* Start scheduler */
    osKernelStart();

    /* We should never get here as control is now taken by the scheduler */

    /* Infinite loop */
    /* USER CODE BEGIN WHILE */
    while (1)
    {
        //	  vofa_start();

        /* USER CODE END WHILE */

    }
}

void SystemClock_Config(void)
{
    RCC_OscInitTypeDef RCC_OscInitStruct = {0};
    RCC_ClkInitTypeDef RCC_ClkInitStruct = {0};

    /** Supply configuration update enable
     */
    HAL_PWREx_ConfigSupply(PWR_LDO_SUPPLY);

    /** Configure the main internal regulator output voltage
     */
    __HAL_PWR_VOLTAGESCALING_CONFIG(PWR_REGULATOR_VOLTAGE_SCALE0);

    while (!__HAL_PWR_GET_FLAG(PWR_FLAG_VOSRDY))
    {
    }

    /** Initializes the RCC Oscillators according to the specified parameters
     * in the RCC_OscInitTypeDef structure.
     */
    RCC_OscInitStruct.OscillatorType = RCC_OSCILLATORTYPE_HSI48 | RCC_OSCILLATORTYPE_HSI | RCC_OSCILLATORTYPE_HSE;
    RCC_OscInitStruct.HSEState = RCC_HSE_ON;
    RCC_OscInitStruct.HSIState = RCC_HSI_DIV1;
    RCC_OscInitStruct.HSICalibrationValue = 64;
    RCC_OscInitStruct.HSI48State = RCC_HSI48_ON;
    RCC_OscInitStruct.PLL.PLLState = RCC_PLL_ON;
    RCC_OscInitStruct.PLL.PLLSource = RCC_PLLSOURCE_HSE;
    RCC_OscInitStruct.PLL.PLLM = 2;
    RCC_OscInitStruct.PLL.PLLN = 40;
    RCC_OscInitStruct.PLL.PLLP = 1;
    RCC_OscInitStruct.PLL.PLLQ = 4;
    RCC_OscInitStruct.PLL.PLLR = 2;
    RCC_OscInitStruct.PLL.PLLRGE = RCC_PLL1VCIRANGE_3;
    RCC_OscInitStruct.PLL.PLLVCOSEL = RCC_PLL1VCOWIDE;
    RCC_OscInitStruct.PLL.PLLFRACN = 0;
    if (HAL_RCC_OscConfig(&RCC_OscInitStruct) != HAL_OK)
    {
        Error_Handler();
    }

    /** Initializes the CPU, AHB and APB buses clocks
     */
    RCC_ClkInitStruct.ClockType = RCC_CLOCKTYPE_HCLK | RCC_CLOCKTYPE_SYSCLK | RCC_CLOCKTYPE_PCLK1 | RCC_CLOCKTYPE_PCLK2 | RCC_CLOCKTYPE_D3PCLK1 | RCC_CLOCKTYPE_D1PCLK1;
    RCC_ClkInitStruct.SYSCLKSource = RCC_SYSCLKSOURCE_PLLCLK;
    RCC_ClkInitStruct.SYSCLKDivider = RCC_SYSCLK_DIV1;
    RCC_ClkInitStruct.AHBCLKDivider = RCC_HCLK_DIV2;
    RCC_ClkInitStruct.APB3CLKDivider = RCC_APB3_DIV2;
    RCC_ClkInitStruct.APB1CLKDivider = RCC_APB1_DIV2;
    RCC_ClkInitStruct.APB2CLKDivider = RCC_APB2_DIV2;
    RCC_ClkInitStruct.APB4CLKDivider = RCC_APB4_DIV2;

    if (HAL_RCC_ClockConfig(&RCC_ClkInitStruct, FLASH_LATENCY_3) != HAL_OK)
    {
        Error_Handler();
    }
    HAL_RCC_MCOConfig(RCC_MCO1, RCC_MCO1SOURCE_HSI, RCC_MCODIV_1);
}

void HAL_TIM_PeriodElapsedCallback(TIM_HandleTypeDef *htim)
{
    if (htim->Instance == TIM23)
    {
        HAL_IncTick();
    }
}

void Error_Handler(void)
{
    __disable_irq();
    while (1)
    {
    }
}

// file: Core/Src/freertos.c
/* USER CODE BEGIN Header */
/**
 ******************************************************************************
 * File Name          : freertos.c
 * Description        : Code for freertos applications
 ******************************************************************************
 * @attention
 *
 * Copyright (c) 2024 STMicroelectronics.
 * All rights reserved.
 *
 * This software is licensed under terms that can be found in the LICENSE file
 * in the root directory of this software component.
 * If no LICENSE file comes with this software, it is provided AS-IS.
 *
 ******************************************************************************
 */
/* USER CODE END Header */

#include "FreeRTOS.h"
#include "task.h"
#include "main.h"
#include "cmsis_os.h"

osThreadId defaultTaskHandle;

void StartDefaultTask(void const * argument);

extern void MX_USB_DEVICE_Init(void);
void MX_FREERTOS_Init(void); /* (MISRA C 2004 rule 8.1) */

/* GetIdleTaskMemory prototype (linked to static allocation support) */
void vApplicationGetIdleTaskMemory( StaticTask_t **ppxIdleTaskTCBBuffer, StackType_t **ppxIdleTaskStackBuffer, uint32_t *pulIdleTaskStackSize );

/* GetTimerTaskMemory prototype (linked to static allocation support) */
void vApplicationGetTimerTaskMemory( StaticTask_t **ppxTimerTaskTCBBuffer, StackType_t **ppxTimerTaskStackBuffer, uint32_t *pulTimerTaskStackSize );

/* Hook prototypes */
void configureTimerForRunTimeStats(void);
unsigned long getRunTimeCounterValue(void);

/* USER CODE BEGIN 1 */
/* Functions needed when configGENERATE_RUN_TIME_STATS is on */
__weak void configureTimerForRunTimeStats(void)
{
}

__weak unsigned long getRunTimeCounterValue(void)
{
  return 0;
}
/* USER CODE END 1 */

/* USER CODE BEGIN GET_IDLE_TASK_MEMORY */
static StaticTask_t xIdleTaskTCBBuffer;
static StackType_t xIdleStack[configMINIMAL_STACK_SIZE];

void vApplicationGetIdleTaskMemory(StaticTask_t **ppxIdleTaskTCBBuffer, StackType_t **ppxIdleTaskStackBuffer, uint32_t *pulIdleTaskStackSize)
{
  *ppxIdleTaskTCBBuffer = &xIdleTaskTCBBuffer;
  *ppxIdleTaskStackBuffer = &xIdleStack[0];
  *pulIdleTaskStackSize = configMINIMAL_STACK_SIZE;
  /* place for user code */
}
/* USER CODE END GET_IDLE_TASK_MEMORY */

/* USER CODE BEGIN GET_TIMER_TASK_MEMORY */
static StaticTask_t xTimerTaskTCBBuffer;
static StackType_t xTimerStack[configTIMER_TASK_STACK_DEPTH];

void vApplicationGetTimerTaskMemory(StaticTask_t **ppxTimerTaskTCBBuffer, StackType_t **ppxTimerTaskStackBuffer, uint32_t *pulTimerTaskStackSize)
{
  *ppxTimerTaskTCBBuffer = &xTimerTaskTCBBuffer;
  *ppxTimerTaskStackBuffer = &xTimerStack[0];
  *pulTimerTaskStackSize = configTIMER_TASK_STACK_DEPTH;
  /* place for user code */
}
/* USER CODE END GET_TIMER_TASK_MEMORY */

void MX_FREERTOS_Init(void) {

  /* Create the thread(s) */
  /* definition and creation of defaultTask */
  /* USB device init runs in defaultTask and needs more than the CubeMX default stack. */
  osThreadDef(defaultTask, StartDefaultTask, osPriorityNormal, 0, 512);
  defaultTaskHandle = osThreadCreate(osThread(defaultTask), NULL);

}

void StartDefaultTask(void const * argument)
{
  /* init code for USB_DEVICE */
  MX_USB_DEVICE_Init();
  for (;;)
  {
    osDelay(1);
  }
}
